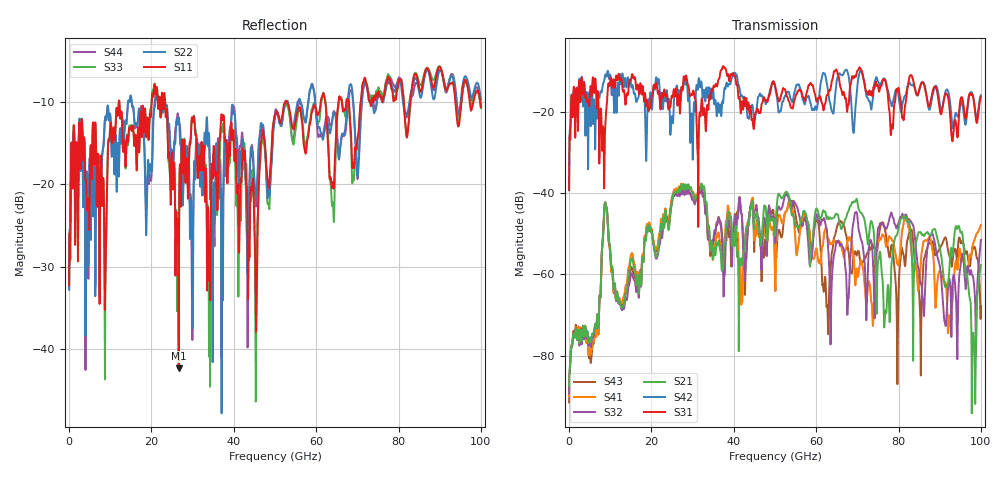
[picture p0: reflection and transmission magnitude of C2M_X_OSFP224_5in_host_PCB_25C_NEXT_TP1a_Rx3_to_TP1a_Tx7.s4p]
# GHz S RI R 45
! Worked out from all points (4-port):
!   4000 points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, 25 MHz to 100 GHz, reference 45 ohm
!   strongest paths, dB at 25 MHz, 25.02 GHz, 50.02 GHz, 75.03 GHz, 100 GHz:
!     S31: -39.3, -16.1, -13.6, -13.7, -16.2
!     S42: -39.3, -21.2, -13.8, -12.5, -15.9
!     S21: -87.5, -42.1, -50.2, -56.9, -57.7
!     S32: -89.4, -42.4, -51.9, -48.7, -51.5
!     S41: -89.9, -40.9, -61.4, -52.0, -47.9
!     S43: -91.5, -41.4, -50.2, -52.2, -67.8
!   lowest |S11| = -42.4 dB at 26.62 GHz (marker M1), VSWR 1.02, Z = 45.1 + j0.672 ohm
!   |S11| at or under -10 dB: start of sweep to 12.07 GHz; 23.31 GHz to 52.55 GHz (29.24 GHz wide, 77.1 % of centre); 52.87 GHz to 61.1 GHz (8.226 GHz wide, 14.4 % of centre) (the widest 3 of 16)
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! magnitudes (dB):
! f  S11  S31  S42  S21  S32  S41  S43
! 25 MHz  -32.3  -39.3  -39.3  -87.5  -89.4  -89.9  -91.5
! 5.625 GHz  -15.8  -13.6  -15.1  -74.6  -75.6  -77.1  -78.1
! 8.875 GHz  -30.3  -22.1  -10.8  -42.6  -42.6  -42.5  -42.5
! 13 GHz  -14.6  -14.4  -10.6  -67.9  -68.4  -66.5  -67.0
! 26.62 GHz  -42.4  -15.8  -14.9  -39.0  -40.1  -38.5  -39.8
! 92.38 GHz  -7.8  -19.0  -16.6  -58.0  -61.2  -70.1  -55.6
! 100 GHz  -10.6  -16.2  -15.9  -57.7  -51.5  -47.9  -67.8
